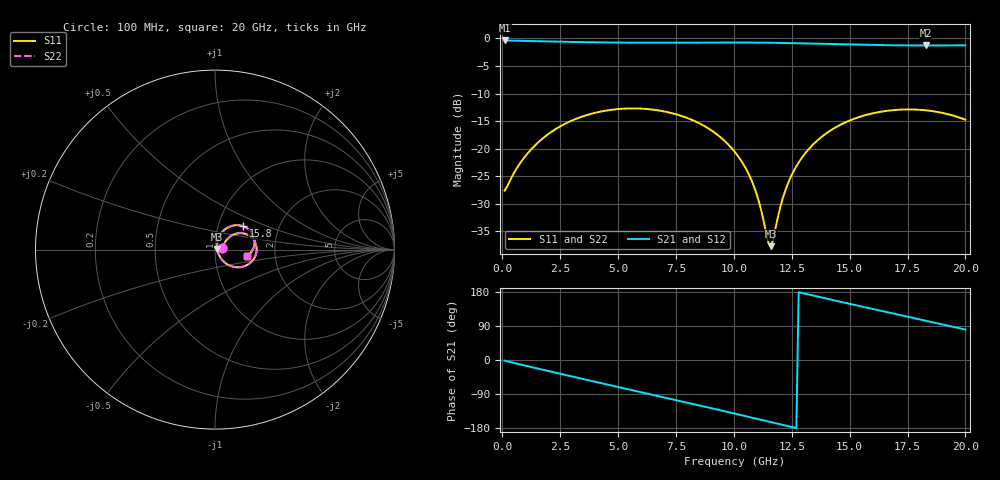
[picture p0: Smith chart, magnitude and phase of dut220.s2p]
! Touchstone file exported from HFSS 2026.1.0
!  File:  C:/ffzhzh/LocalFiles/Ansys_Project_Files/temp_train_TSV_RDL_220_1783062902_46780.aedt
!  Generated:  03:24:09 PM Jul  3, 2026
!  Design:  TSV_RDL
!  Project:  temp_train_TSV_RDL_220_1783062902_46780
! Variables:
!  h_bsmrdl = 3.25um
!  h_ox = 20um
!  h_rdl = 5um
!  h_sub = 88.96um
!  h_tmrdl = 2.72um
!  h_tsv = 88.96um
!  h_via = 3um
!  l_bsmrdl = 836.64um
!  l_sub = 4505.75um
!  l_tmrdl = 381.34um
!  m_sub = 200um
!  pitch = 19.51um
!  r_tsv = 6.43um
!  s_tmrdl = 10um
!  w_bsmrdl = 13.42um
!  w_sub = 500um
!  w_tmrdl = 10.07um
!  x_tsv_center1 = 386.375um
!  x_tsv_center2 = 1236.435um
!  x_tsv_center3 = 1627.845um
!  x_tsv_center4 = 2477.905um
!  x_tsv_center5 = 2869.315um
!  x_tsv_center6 = 3719.375um
# GHz S MA R 50.000000
! Terminal data exported
! Port[1] = TM_RDL1_1_T1
! Port[2] = TM_RDL5_1_T1
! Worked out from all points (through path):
!   200 points, 100 MHz to 20 GHz, reference 50 ohm
!   highest |S21| = -0.36 dB at 100 MHz (marker M1); lowest = -1.3 dB at 18.3 GHz (marker M2)
!   group delay of S21, straight-line fit = 38.9 ps
!   lowest |S11| = -37.7 dB at 11.6 GHz (marker M3), VSWR 1.03, Z = 51.3 + j0.347 ohm
!   |S11| at or under -10 dB: start of sweep to end of sweep
!   |S22| runs from -37.7 to -12.7 dB; largest |S21 - S12| = 1.6e-14
!   S11 on the Smith chart (normalised r, x): 100 MHz: 1.09, +0.02; 15.8 GHz: 1.32, +0.36; 20 GHz: 1.43, -0.10
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0.1  0.04167 10.5  0.9592 -1.6  0.9592 -1.6  0.04167 10.5
! Gamma 0 0 0 0
! Port Impedance 50 0 50 0
0.8  0.07551 38.3  0.9501 -12.0  0.9501 -12.0  0.07551 38.3
1.5  0.1116 40.8  0.9434 -22.1  0.9434 -22.1  0.1116 40.8
2.4  0.155 35.7  0.9355 -34.9  0.9355 -34.9  0.155 35.7
3.5  0.1972 25.1  0.9264 -50.3  0.9264 -50.3  0.1973 25.1
5.2  0.2304 5.6  0.9169 -73.8  0.9169 -73.8  0.2305 5.6
6.8  0.2215 -14.0  0.915 -95.8  0.915 -95.8  0.2216 -14.1
8.7  0.1617 -37.6  0.9185 -122.4  0.9185 -122.4  0.1617 -37.6
10.1  0.09021 -52.8  0.9193 -142.4  0.9193 -142.4  0.09024 -52.9
10.9  0.04367 -54.7  0.9174 -153.9  0.9174 -153.9  0.0437 -54.8
11.2  0.02663 -47.0  0.9161 -158.2  0.9161 -158.2  0.02665 -47.1
11.5  0.01379 -10.1  0.9145 -162.5  0.9145 -162.5  0.0138 -10.3
11.6  0.01305 15.0  0.9139 -163.9  0.9139 -163.9  0.01305 14.8
12.1  0.03477 69.7  0.9103 -171.1  0.9103 -171.1  0.03475 69.6
12.4  0.05204 73.1  0.9078 -175.4  0.9078 -175.4  0.05201 73.0
12.8  0.07505 72.2  0.9042 178.9  0.9042 178.9  0.07503 72.1
13.4  0.1081 67.2  0.8981 170.4  0.8981 170.4  0.108 67.1
14.5  0.1606 55.0  0.8863 155.1  0.8863 155.1  0.1606 54.9
15.8  0.2047 39.4  0.874 137.3  0.874 137.3  0.2046 39.3
16.7  0.2218 28.4  0.8679 125.1  0.8679 125.1  0.2217 28.3
18.3  0.2229 9.0  0.8636 103.6  0.8636 103.6  0.2229 8.9
20  0.1829 -11.0  0.8667 80.3  0.8667 80.3  0.1828 -11.3
